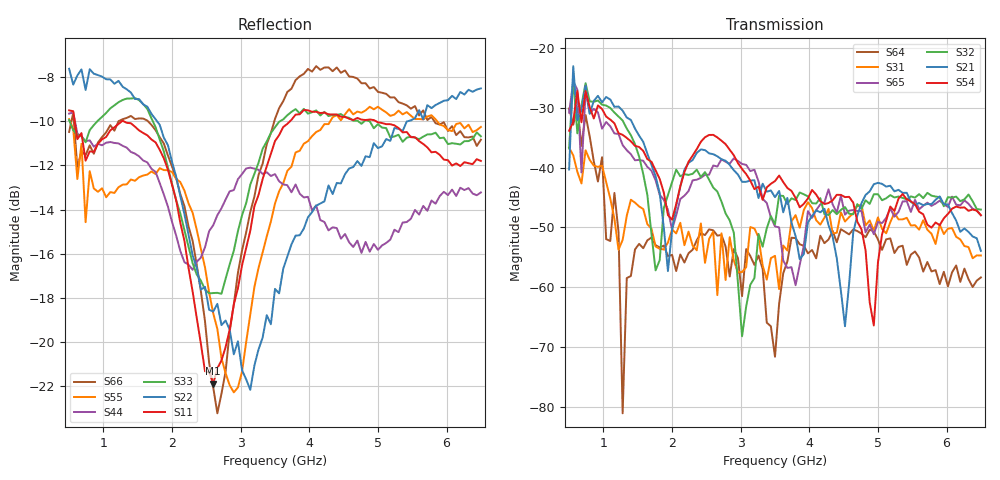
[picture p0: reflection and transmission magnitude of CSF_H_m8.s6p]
!Keysight Technologies,M9804A,MY58100912,A.14.10.03
!Date: Thursday, April 27, 2023 10:28:33
!Correction: S11(C  6-Port  )
!S12(C  6-Port  )
!S13(C  6-Port  )
!S14(C  6-Port  )
!S15(C  6-Port  )
!S16(C  6-Port  )
!S21(C  6-Port  )
!S22(C  6-Port  )
!S23(C  6-Port  )
!S24(C  6-Port  )
!S25(C  6-Port  )
!S26(C  6-Port  )
!S31(C  6-Port  )
!S32(C  6-Port  )
!S33(C  6-Port  )
!S34(C  6-Port  )
!S35(C  6-Port  )
!S36(C  6-Port  )
!S41(C  6-Port  )
!S42(C  6-Port  )
!S43(C  6-Port  )
!S44(C  6-Port  )
!S45(C  6-Port  )
!S46(C  6-Port  )
!S51(C  6-Port  )
!S52(C  6-Port  )
!S53(C  6-Port  )
!S54(C  6-Port  )
!S55(C  6-Port  )
!S56(C  6-Port  )
!S61(C  6-Port  )
!S62(C  6-Port  )
!S63(C  6-Port  )
!S64(C  6-Port  )
!S65(C  6-Port  )
!S66(C  6-Port  )
!S6P File: Measurement: :
# Hz S  RI  R 50
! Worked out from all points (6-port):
!   101 points, 500 MHz to 6.5 GHz, reference 50 ohm
!   strongest paths, dB at 500 MHz, 2 GHz, 3.5 GHz, 5 GHz, 6.5 GHz:
!     S54: -33.8, -48.7, -42.3, -55.9, -47.9
!     S21: -40.3, -50.4, -44.9, -42.5, -53.9
!     S32: -36.8, -42.4, -49.5, -44.4, -47.0
!     S65: -30.8, -50.4, -49.8, -49.1, -48.0
!     S31: -36.7, -50.3, -54.8, -48.3, -54.7
!     S64: -30.1, -54.6, -71.6, -52.0, -58.4
!   lowest |S11| = -21.9 dB at 2.6 GHz (marker M1), VSWR 1.18, Z = 42.8 + j1.94 ohm
!   |S11| at or under -10 dB: 581.1 MHz to 1.274 GHz (692.8 MHz wide, 74.7 % of centre); 1.289 GHz to 3.721 GHz (2.432 GHz wide, 97.1 % of centre); 4.968 GHz to end of sweep
